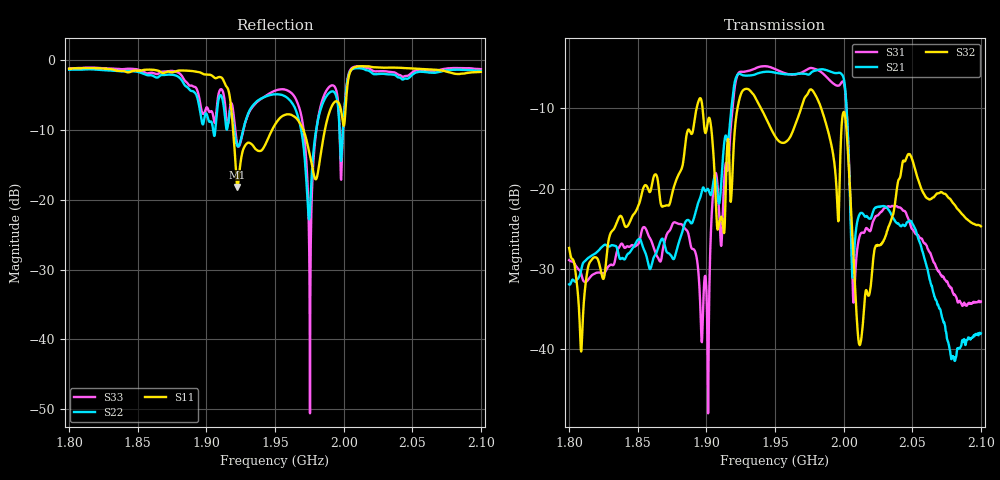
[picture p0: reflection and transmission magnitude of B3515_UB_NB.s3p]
! Matrix data file written by TouchstoneData, EPCOS AG
! FILENAME: "LQ98_UB_NB.s3p_newformat"
! COMMENT: "(LQ98_UB_NB.s3p)"
! INFO: nport=3, nfreq=1601
! DATE: "Thu Apr  2 15:29:34 2009"
! USER: "Michael Schemies"
! port | pin | signal
!  1  |  6  |  input
!  2  |  3  |  output
!  3  |  4  |  output
# MHZ S MA R 50
! freq  magS11 angS11  magS12 angS12  magS13 angS13  ...
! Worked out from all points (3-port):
!   1601 points, 1.8 GHz to 2.1 GHz, reference 50 ohm
!   strongest paths, dB at 1.8 GHz, 1.875 GHz, 1.95 GHz, 2.025 GHz, 2.1 GHz:
!     S32: -27.4, -20.7, -13.5, -27.1, -24.7
!     S21: -31.9, -28.6, -5.5, -22.3, -38.0
!     S31: -28.9, -24.5, -5.1, -23.3, -34.1
!   lowest |S11| = -18.1 dB at 1.923 GHz (marker M1), VSWR 1.28, Z = 41.8 + j8.01 ohm
!   |S11| at or under -10 dB: 1.919 GHz to 1.948 GHz (28.28 MHz wide, 1.46 % of centre); 1.971 GHz to 1.986 GHz (15.62 MHz wide, 0.79 % of centre)
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1800  0.8731 -131.5  0.02542 131.6  0.03578 129.4
      0.02532 131.0  0.8578 -93.2  0.04243 75.8
      0.0358 129.0  0.04265 76.0  0.8732 -99.6
1900.875  0.7928 178.2  0.09987 52.9  0.009495 101.6
          0.0996 52.6  0.3937 -134.4  0.2552 50.1
          0.009616 101.6  0.2552 50.0  0.4548 -135.9
1922.625  0.1239 130.5  0.5121 -12.6  0.5099 160.0
          0.511 -12.9  0.2428 81.8  0.3145 88.6
          0.509 159.6  0.3147 88.5  0.2483 73.0
1950  0.3464 -45.1  0.5287 -152.3  0.5558 28.9
      0.528 -152.5  0.5715 -73.8  0.2122 -84.9
      0.5555 28.5  0.2123 -85.1  0.6068 -76.6
1975.5  0.208 -175.6  0.5195 130.5  0.5644 -49.3
        0.5189 130.2  0.08539 91.1  0.4136 94.3
        0.5635 -49.8  0.4134 94.1  0.00294 37.6
1983.375  0.2135 49.7  0.5532 101.3  0.5345 -84.9
          0.5533 101.0  0.4492 -8.4  0.3222 30.9
          0.5344 -85.5  0.3218 30.5  0.4755 -24.0
2000.812  0.3736 -10.0  0.4441 -18.1  0.4243 157.1
          0.4439 -18.4  0.468 1.5  0.29 -15.2
          0.4247 156.7  0.2905 -15.3  0.4791 -9.2
2011.688  0.9082 -50.9  0.06929 41.5  0.05068 -146.2
          0.06926 41.2  0.8795 -44.5  0.01059 165.8
          0.05062 -146.6  0.01058 165.6  0.9076 -54.2
2046.938  0.8798 -87.2  0.06224 29.4  0.06546 164.8
          0.06222 29.0  0.7426 -61.2  0.1632 76.9
          0.06539 164.5  0.1631 77.1  0.7785 -69.5
2100  0.8277 -101.7  0.01253 71.5  0.01979 160.0
      0.01253 70.9  0.8415 -75.1  0.05824 39.1
      0.01978 159.0  0.05822 38.7  0.8667 -82.4
